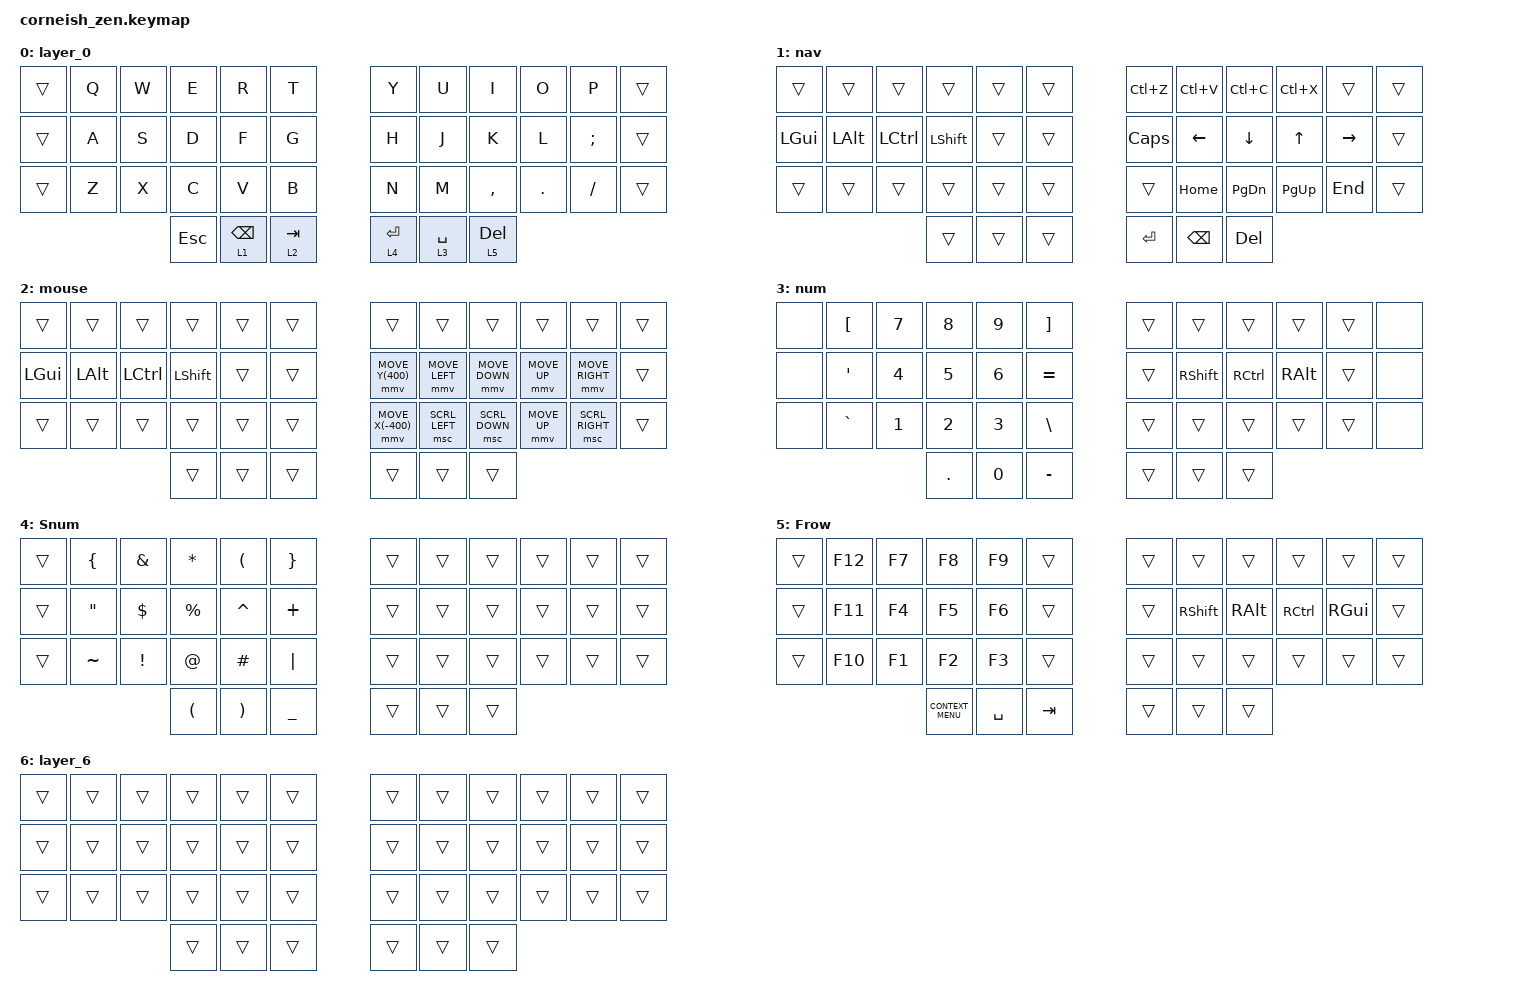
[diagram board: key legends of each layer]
#define CONFIG_WIRELESS

#define ZMK_BASE_LAYER(name, LT, RT, LM, RM, LB, RB, LH, RH)                   \
    ZMK_LAYER(                                                                 \
        name,                                                                  \
                 LT RT                                                         \
                 LM RM                                                         \
                 LB RB                                                         \
        &kp LGUI LH RH &smart_mouse                                            \
    )

#include <behaviors.dtsi>
#include <dt-bindings/zmk/keys.h>
#include <dt-bindings/zmk/pointing.h>
#include "zmk-helpers/key-labels/36.h"
#include "base.keymap"

/ {
    chosen { zmk,physical-layout = &foostan_corne_5col_layout; };

    keymap {
        compatible = "zmk,keymap";

        layer_0 {
            bindings = <
&trans  &kp Q  &kp W  &kp E    &kp R            &kp T        &kp Y        &kp U        &kp I         &kp O    &kp P     &trans
&trans  &kp A  &kp S  &kp D    &kp F            &kp G        &kp H        &kp J        &kp K         &kp L    &kp SEMI  &trans
&trans  &kp Z  &kp X  &kp C    &kp V            &kp B        &kp N        &kp M        &kp COMMA     &kp DOT  &kp FSLH  &trans
                      &kp ESC  &lt 1 BACKSPACE  &lt 2 TAB    &lt 4 ENTER  &lt 3 SPACE  &lt 5 DELETE
            >;
        };

        nav {
            bindings = <
&trans        &trans        &trans     &trans          &trans  &trans    &kp LC(Z)  &kp LC(V)       &kp LC(C)  &kp LC(X)     &trans     &trans
&kp LEFT_GUI  &kp LEFT_ALT  &kp LCTRL  &kp LEFT_SHIFT  &trans  &trans    &kp CAPS   &kp LEFT_ARROW  &kp DOWN   &kp UP_ARROW  &kp RIGHT  &trans
&trans        &trans        &trans     &trans          &trans  &trans    &trans     &kp HOME        &kp PG_DN  &kp PAGE_UP   &kp END    &trans
                                       &trans          &trans  &trans    &kp ENTER  &kp BACKSPACE   &kp DEL
            >;
        };

        mouse {
            bindings = <
&trans        &trans        &trans     &trans          &trans  &trans    &trans             &trans          &trans          &trans        &trans           &trans
&kp LEFT_GUI  &kp LEFT_ALT  &kp LCTRL  &kp LEFT_SHIFT  &trans  &trans    &mmv MOVE_Y(400)   &mmv MOVE_LEFT  &mmv MOVE_DOWN  &mmv MOVE_UP  &mmv MOVE_RIGHT  &trans
&trans        &trans        &trans     &trans          &trans  &trans    &mmv MOVE_X(-400)  &msc SCRL_LEFT  &msc SCRL_DOWN  &mmv MOVE_UP  &msc SCRL_RIGHT  &trans
                                       &trans          &trans  &trans    &trans             &trans          &trans
            >;
        };

        num {
            bindings = <
&none  &kp LEFT_BRACKET  &kp N7  &kp N8      &kp N9  &kp RIGHT_BRACKET    &trans  &trans           &trans     &trans         &trans  &none
&none  &kp SINGLE_QUOTE  &kp N4  &kp N5      &kp N6  &kp EQUAL            &trans  &kp RIGHT_SHIFT  &kp RCTRL  &kp RIGHT_ALT  &trans  &none
&none  &kp GRAVE         &kp N1  &kp N2      &kp N3  &kp BACKSLASH        &trans  &trans           &trans     &trans         &trans  &none
                                 &kp PERIOD  &kp N0  &kp MINUS            &trans  &trans           &trans
            >;
        };

        Snum {
            bindings = <
&trans  &kp LEFT_BRACE     &kp AMPERSAND    &kp ASTERISK          &kp LEFT_PARENTHESIS   &kp RIGHT_BRACE    &trans  &trans  &trans  &trans  &trans  &trans
&trans  &kp DOUBLE_QUOTES  &kp DOLLAR       &kp PERCENT           &kp CARET              &kp PLUS           &trans  &trans  &trans  &trans  &trans  &trans
&trans  &kp TILDE          &kp EXCLAMATION  &kp AT_SIGN           &kp HASH               &kp PIPE           &trans  &trans  &trans  &trans  &trans  &trans
                                            &kp LEFT_PARENTHESIS  &kp RIGHT_PARENTHESIS  &kp UNDER          &trans  &trans  &trans
            >;
        };

        Frow {
            bindings = <
&trans  &kp F12  &kp F7  &kp F8              &kp F9     &trans     &trans  &trans           &trans         &trans     &trans         &trans
&trans  &kp F11  &kp F4  &kp F5              &kp F6     &trans     &trans  &kp RIGHT_SHIFT  &kp RIGHT_ALT  &kp RCTRL  &kp RIGHT_GUI  &trans
&trans  &kp F10  &kp F1  &kp F2              &kp F3     &trans     &trans  &trans           &trans         &trans     &trans         &trans
                         &kp K_CONTEXT_MENU  &kp SPACE  &kp TAB    &trans  &trans           &trans
            >;
        };

        layer_6 {
            bindings = <
&trans  &trans  &trans  &trans  &trans  &trans    &trans  &trans  &trans  &trans  &trans  &trans
&trans  &trans  &trans  &trans  &trans  &trans    &trans  &trans  &trans  &trans  &trans  &trans
&trans  &trans  &trans  &trans  &trans  &trans    &trans  &trans  &trans  &trans  &trans  &trans
                        &trans  &trans  &trans    &trans  &trans  &trans
            >;
        };
    };
};
